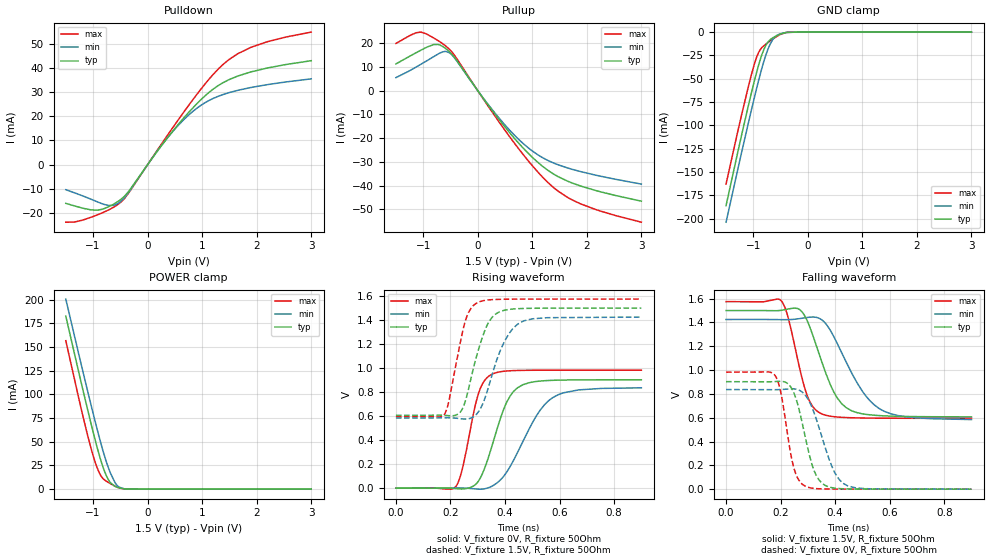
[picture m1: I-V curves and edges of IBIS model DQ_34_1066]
| [Disclaimer]  This software code and all associated documentation, comments
| or other information (collectively "Software") is provided
| "AS IS" without warranty of any kind. MICRON TECHNOLOGY, INC.
| ("MTI") EXPRESSLY DISCLAIMS ALL WARRANTIES EXPRESS OR IMPLIED,
| INCLUDING BUT NOT LIMITED TO, NONINFRINGEMENT OF THIRD PARTY
| RIGHTS, AND ANY IMPLIED WARRANTIES OF MERCHANTABILITY OR
| FITNESS FOR ANY PARTICULAR PURPOSE. MTI DOES NOT WARRANT THAT
| THE SOFTWARE WILL MEET YOUR REQUIREMENTS, OR THAT THE
| OPERATION OF THE SOFTWARE WILL BE UNINTERRUPTED OR ERROR-FREE.
| FURTHERMORE, MTI DOES NOT MAKE ANY REPRESENTATIONS REGARDING
| THE USE OR THE RESULTS OF THE USE OF THE SOFTWARE IN TERMS OF
| ITS CORRECTNESS, ACCURACY, RELIABILITY, OR OTHERWISE. THE
| ENTIRE RISK ARISING OUT OF USE OR PERFORMANCE OF THE SOFTWARE
| REMAINS WITH YOU. IN NO EVENT SHALL MTI, ITS AFFILIATED
| COMPANIES OR THEIR SUPPLIERS BE LIABLE FOR ANY DIRECT,
| INDIRECT, CONSEQUENTIAL, INCIDENTAL, OR SPECIAL DAMAGES
| (INCLUDING, WITHOUT LIMITATION, DAMAGES FOR LOSS OF PROFITS,
| BUSINESS INTERRUPTION, OR LOSS OF INFORMATION) ARISING OUT OF
| YOUR USE OF OR INABILITY TO USE THE SOFTWARE, EVEN IF MTI HAS
| BEEN ADVISED OF THE POSSIBILITY OF SUCH DAMAGES. Because some
| jurisdictions prohibit the exclusion or limitation of
| liability for consequential or incidental damages, the above
| limitation may not apply to you.
| [Copyright] Copyright 2015 Micron Technology, Inc. All rights reserved.
| From v00h_it_v5p0.ibs, Micron Technology,Inc.
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| MODEL DQ_34_1066 (34 Ohm Data I/O with no ODT, 800/1066Mbps)
[Model]   DQ_34_1066
Model_type   I/O
Vinl = 575.000mV
Vinh = 925.000mV
Vmeas = 750.000mV
Vref = 750.000mV
Cref = 0.0pF
Rref = 25.000Ohm
|   typ   min   max
|C_comp   1.100pF   1.025pF   1.175pF
C_comp_pullup   0.5500pF   0.5125pF   0.5875pF
C_comp_pulldown   0.5500pF   0.5125pF   0.5875pF
[Model Spec]
| Input threshold voltage corners
Vinl   0.5750V   0.5375V   0.6125V
Vinh   0.9250V   0.8875V   0.9625V
| Measurement voltage corners
Vmeas   0.7500V   0.7125V   0.7875V
| Timing spec test load voltage corners
Vref   0.7500V   0.7125V   0.7875V
| Dynamic Overshoot Parameters from DDR3 Specification
D_overshoot_ampl_h   0.40   NA   NA
D_overshoot_ampl_l   0.40   NA   NA
D_overshoot_area_h   0.19n   NA   NA
D_overshoot_area_l   0.19n   NA   NA
[Receiver Thresholds]
Vth   =  0.750V
Vth_min  =  0.7350V
Vth_max  =  0.7650V
Vinh_ac  =  0.175V
Vinh_dc  =  0.100V
Vinl_ac  = -0.175V
Vinl_dc  = -0.100V
Tslew_ac =  5.000ns |Not specified, so set to high value
Threshold_sensitivity = 0.50
Reference_supply Pullup_ref
[Voltage Range]   1.5000V   1.4250V   1.5750V
[Pullup Reference]   1.5000V   1.4250V   1.5750V
| Junction Temperature (Ambient temp is 35C typ, 95C min, -40C max)
[Temperature Range]   50.0   110.0   -40.0
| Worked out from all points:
|   slope of the pulldown table from 0 to 0.225 V, typ, clamps not added: 32.2 ohm
|   slope of the pullup table from 0 to 0.225 V, typ, clamps not added: 31.6 ohm
|   GND clamp passes 1 mA (typ) near -0.43 V on its own axis
|   POWER clamp passes 1 mA (typ) near -0.49 V on its own axis
|   falling waveform, V_fixture 1.5V, R_fixture 50Ohm: 20-80 % time 89.1ps typ, 123ps min, 62.4ps max; typ from 1.5 V to 0.607 V
|   rising waveform, V_fixture 0V, R_fixture 50Ohm: 20-80 % time 80ps typ, 120ps min, 55.2ps max; typ from 0 V to 0.903 V
|   rising waveform, V_fixture 1.5V, R_fixture 50Ohm: 20-80 % time 65.7ps typ, 80.1ps min, 52.9ps max; typ from 0.607 V to 1.5 V
|   falling waveform, V_fixture 0V, R_fixture 50Ohm: 20-80 % time 57.4ps typ, 74.6ps min, 43.5ps max; typ from 0.903 V to 0 V
[Pulldown]
|   Voltage   I(typ)   I(min)   I(max)
-1.5V     -16.02mA   -10.35mA   -23.81mA
-1.344V   -17.05mA   -11.62mA   -23.76mA
-910.5mV  -18.81mA   -15.49mA   -20.69mA
-597mV    -16mA      -16.62mA   -17.26mA
-496.7mV  -14.5mA    -15.27mA   -15.63mA
-343.5mV  -10.96mA   -11.36mA   -11.6mA
212mV     6.597mA    6.669mA    7.125mA
574.3mV   16.98mA    16.56mA    18.94mA
971.2mV   26.74mA    24.45mA    31.06mA
1.381V    33.89mA    28.99mA    41.41mA
1.899V    38.4mA     31.94mA    48.57mA
3V        43.01mA    35.5mA     54.85mA
[GND Clamp]
|   Voltage   I(typ)   I(min)   I(max)
-1.5V     -186mA     -203.8mA   -162.9mA
-1.291V   -130.2mA   -148.7mA   -107.9mA
-1.095V   -79.93mA   -98.52mA   -59.54mA
-984.1mV  -53.14mA   -71.05mA   -34.89mA
-940.9mV  -43.4mA    -60.73mA   -27.05mA
-862.1mV  -27.53mA   -42.83mA   -17.87mA
-760.5mV  -13.22mA   -22.94mA   -12.5mA
-689.2mV  -8.041mA   -12.72mA   -9.38mA
-636.9mV  -5.9mA     -7.547mA   -7.218mA
-576mV    -3.991mA   -3.955mA   -4.888mA
-381.7mV  -347.6uA   -286.8uA   -275.5uA
3V        0A         0A         0A
[Pullup]
|   Voltage   I(typ)   I(min)   I(max)
-1.5V     11.25mA    5.486mA    19.87mA
-1.043V   17.02mA    11.09mA    24.67mA
-729mV    19.46mA    15.39mA    21.1mA
-522.4mV  16.47mA    16.01mA    17.49mA
-406.9mV  13.43mA    13.23mA    14.26mA
212mV     -6.732mA   -6.467mA   -7.256mA
571.1mV   -17.34mA   -16.31mA   -18.99mA
933mV     -26.57mA   -24.24mA   -29.77mA
1.316V    -34.05mA   -29.75mA   -39.33mA
1.651V    -38.19mA   -32.62mA   -45.05mA
1.887V    -40.21mA   -34.13mA   -47.73mA
3V        -46.59mA   -39.4mA    -55.45mA
[POWER Clamp]
|   Voltage   I(typ)   I(min)   I(max)
-1.5V     182.5mA    200.5mA    156.6mA
-1.179V   103mA      122.4mA    75.41mA
-1.032V   67.98mA    87.6mA     42.03mA
-954mV    50.23mA    69.67mA    27.13mA
-866.9mV  32.08mA    50.51mA    15.13mA
-750.4mV  13.54mA    27.8mA     8.202mA
-682.5mV  6.818mA    17.11mA    5.812mA
-602.2mV  3.086mA    7.416mA    3.322mA
-548.1mV  1.811mA    3.348mA    1.931mA
-429mV    327uA      392.7uA    227uA
-148.7mV  253.6nA    785.2nA    0A
3V        0A         0A         0A
[Ramp]
R_load = 50
|   typ   min   max
dV/dt_r 5.4171E-01/7.9951E-11   5.0151E-01/1.1978E-10   5.8965E-01/5.5243E-11
dV/dt_f 5.3558E-01/8.8853E-11   5.0427E-01/1.2322E-10   5.8793E-01/6.2281E-11
[Falling Waveform]
V_fixture = 1.5V
V_fixture_min = 1.425V
V_fixture_max = 1.575V
R_fixture = 50Ohm
C_fixture = 0F
|   Time   V(typ)   V(min)   V(max)
0s        1.5V       1.425V     1.575V
204ps     1.503V     1.424V     1.579V
228ps     1.513V     1.424V     1.439V
278ps     1.491V     1.435V     938.2mV
308ps     1.356V     1.445V     731.5mV
348ps     1.09V      1.427V     635.5mV
424ps     718.1mV    1.146V     603.4mV
498ps     633.7mV    829.4mV    597.9mV
560ps     618.2mV    679.7mV    596.3mV
900ps     607.4mV    584.6mV    595.1mV
[Rising Waveform]
V_fixture = 0V
V_fixture_min = 0V
V_fixture_max = 0V
R_fixture = 50Ohm
C_fixture = 0F
|   Time   V(typ)   V(min)   V(max)
0s        0V         622nV      0V
220ps     -3.616mV   1.817mV    14.59mV
244ps     -6.796mV   1.437mV    165.2mV
302ps     57mV       -7.769mV   782.7mV
352ps     349.9mV    16.48mV    948.7mV
396ps     661.9mV    101.9mV    973.8mV
432ps     807.1mV    235.1mV    979.3mV
516ps     889.2mV    605.7mV    982.3mV
574ps     898.3mV    752.3mV    982.6mV
900ps     902.9mV    835.8mV    982.7mV
[Rising Waveform]
V_fixture = 1.5V
V_fixture_min = 1.425V
V_fixture_max = 1.575V
R_fixture = 50Ohm
C_fixture = 0F
|   Time   V(typ)   V(min)   V(max)
0s        607.1mV    584.6mV    595.1mV
178ps     606.7mV    586.3mV    614.9mV
194ps     603.9mV    586.3mV    723.5mV
242ps     653.3mV    577.5mV    1.278V
266ps     824mV      577.8mV    1.461V
300ps     1.133V     628.2mV    1.546V
358ps     1.435V     984.6mV    1.571V
400ps     1.483V     1.23V      1.574V
446ps     1.495V     1.365V     1.574V
900ps     1.5V       1.425V     1.575V
[Falling Waveform]
|Gnd
V_fixture = 0V
V_fixture_min = 0V
V_fixture_max = 0V
R_fixture = 50Ohm
C_fixture = 0F
|   Time   V(typ)   V(min)   V(max)
0s        902.9mV    836.8mV    982.7mV
180ps     903.7mV    835.5mV    954.1mV
202ps     905.8mV    836.9mV    798.9mV
248ps     812.6mV    842.3mV    183.9mV
292ps     422.2mV    784.8mV    23.56mV
318ps     186.9mV    670.8mV    7.728mV
342ps     74.32mV    509.2mV    3.219mV
396ps     9.429mV    150.9mV    795.4uV
432ps     3.08mV     45.33mV    406.3uV
900ps     6.382uV    43.63uV    657.4nV
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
